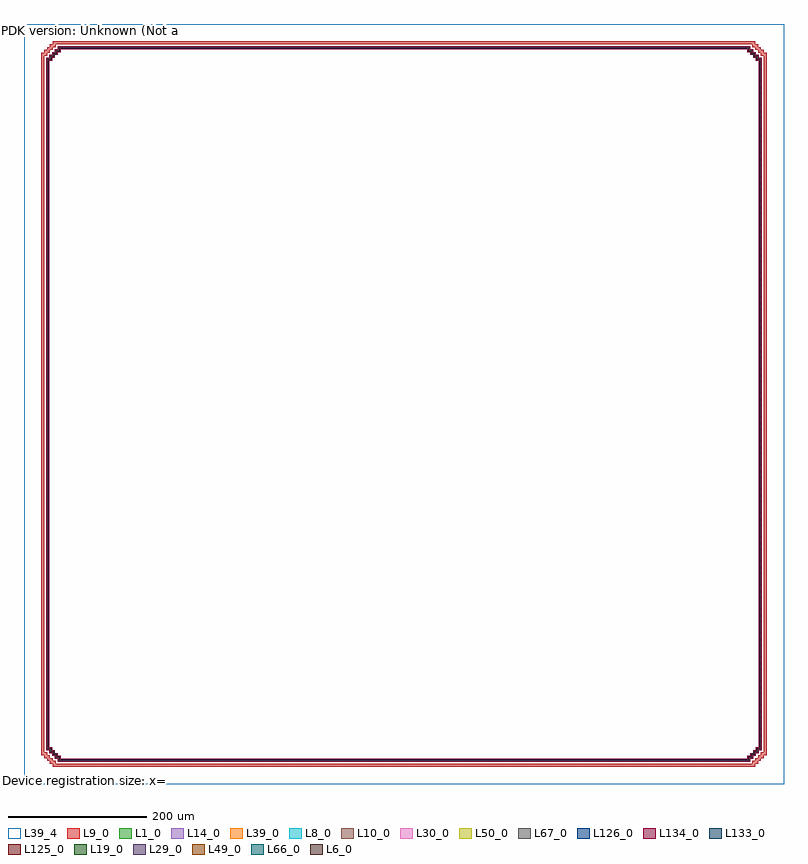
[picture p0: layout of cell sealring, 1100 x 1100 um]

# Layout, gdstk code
import gdstk
lib = gdstk.Library(unit=1e-6, precision=1e-09)
def R(c, l, rs):  # rectangles x0, y0, x1, y1
    for r in rs: c.add(gdstk.rectangle(r[:2], r[2:], *l))
def P(c, l, *ps):  # polygons
    for p in ps: c.add(gdstk.Polygon(p, *l))
L1_0 = (1, 0)
L6_0 = (6, 0)
L8_0 = (8, 0)
L9_0 = (9, 0)
L10_0 = (10, 0)
L14_0 = (14, 0)
L19_0 = (19, 0)
L29_0 = (29, 0)
L30_0 = (30, 0)
L39_0 = (39, 0)
L39_4 = (39, 4)
L49_0 = (49, 0)
L50_0 = (50, 0)
L66_0 = (66, 0)
L67_0 = (67, 0)
L125_0 = (125, 0)
L126_0 = (126, 0)
L133_0 = (133, 0)
L134_0 = (134, 0)

sealring = lib.new_cell('sealring')
R(sealring, L1_0, [(49,32.2,53.2,40.6), (53.2,32.2,1046.8,36.4), (1046.8,32.2,1051,36.4), (44.8,36.4,49,44.8), (1046.8,36.4,1055.2,40.6), (40.6,40.6,44.8,49), (1051,40.6,1059.4,44.8), (36.4,44.8,40.6,53.2), (1055.2,44.8,1063.6,49), (32.2,49,36.4,53.2), (1059.4,49,1067.8,53.2), (32.2,53.2,36.4,1046.8), (1063.6,53.2,1067.8,1046.8), (32.2,1046.8,40.6,1051), (1059.4,1046.8,1063.6,1055.2), (1063.6,1046.8,1067.8,1051), (36.4,1051,44.8,1055.2), (1055.2,1051,1059.4,1059.4), (40.6,1055.2,49,1059.4), (1051,1055.2,1055.2,1063.6), (44.8,1059.4,53.2,1063.6), (1046.8,1059.4,1051,1067.8), (49,1063.6,53.2,1067.8), (53.2,1063.6,1046.8,1067.8)])
R(sealring, L6_0, [(53.2,34.2,1046.8,34.36), (34.2,53.2,34.36,1046.8), (1065.64,53.2,1065.8,1046.8), (53.2,1065.64,1046.8,1065.8)])
P(sealring, L6_0, [(1065.64,1046.8),(1065.64,1048.84),(1061.44,1048.84),(1061.44,1053.04),(1057.24,1053.04),(1057.24,1057.24),(1053.04,1057.24),(1053.04,1061.44),(1048.84,1061.44),(1048.84,1065.64),(1046.8,1065.64),(1046.8,1065.8),(1049,1065.8),(1049,1061.6),(1053.2,1061.6),(1053.2,1057.4),(1057.4,1057.4),(1057.4,1053.2),(1061.6,1053.2),(1061.6,1049),(1065.8,1049),(1065.8,1046.8)],
  [(51,34.2),(51,38.4),(46.8,38.4),(46.8,42.6),(42.6,42.6),(42.6,46.8),(38.4,46.8),(38.4,51),(34.2,51),(34.2,53.2),(34.36,53.2),(34.36,51.16),(38.56,51.16),(38.56,46.96),(42.76,46.96),(42.76,42.76),(46.96,42.76),(46.96,38.56),(51.16,38.56),(51.16,34.36),(53.2,34.36),(53.2,34.2)],
  [(1046.8,34.2),(1046.8,34.36),(1048.84,34.36),(1048.84,38.56),(1053.04,38.56),(1053.04,42.76),(1057.24,42.76),(1057.24,46.96),(1061.44,46.96),(1061.44,51.16),(1065.64,51.16),(1065.64,53.2),(1065.8,53.2),(1065.8,51),(1061.6,51),(1061.6,46.8),(1057.4,46.8),(1057.4,42.6),(1053.2,42.6),(1053.2,38.4),(1049,38.4),(1049,34.2)],
  [(34.2,1046.8),(34.2,1049),(38.4,1049),(38.4,1053.2),(42.6,1053.2),(42.6,1057.4),(46.8,1057.4),(46.8,1061.6),(51,1061.6),(51,1065.8),(53.2,1065.8),(53.2,1065.64),(51.16,1065.64),(51.16,1061.44),(46.96,1061.44),(46.96,1057.24),(42.76,1057.24),(42.76,1053.04),(38.56,1053.04),(38.56,1048.84),(34.36,1048.84),(34.36,1046.8)])
R(sealring, L8_0, [(49,32.2,53.2,40.6), (53.2,32.2,1046.8,36.4), (1046.8,32.2,1051,36.4), (44.8,36.4,49,44.8), (1046.8,36.4,1055.2,40.6), (40.6,40.6,44.8,49), (1051,40.6,1059.4,44.8), (36.4,44.8,40.6,53.2), (1055.2,44.8,1063.6,49), (32.2,49,36.4,53.2), (1059.4,49,1067.8,53.2), (32.2,53.2,36.4,1046.8), (1063.6,53.2,1067.8,1046.8), (32.2,1046.8,40.6,1051), (1059.4,1046.8,1063.6,1055.2), (1063.6,1046.8,1067.8,1051), (36.4,1051,44.8,1055.2), (1055.2,1051,1059.4,1059.4), (40.6,1055.2,49,1059.4), (1051,1055.2,1055.2,1063.6), (44.8,1059.4,53.2,1063.6), (1046.8,1059.4,1051,1067.8), (49,1063.6,53.2,1067.8), (53.2,1063.6,1046.8,1067.8)])
R(sealring, L9_0, [(53.2,25,1046.8,29.2), (25,53.2,29.2,1046.8), (1070.8,53.2,1075,1046.8), (53.2,1070.8,1046.8,1075)])
P(sealring, L9_0, [(41.8,25),(41.8,29.2),(37.6,29.2),(37.6,33.4),(33.4,33.4),(33.4,37.6),(29.2,37.6),(29.2,41.8),(25,41.8),(25,53.2),(29.2,53.2),(29.2,46),(33.4,46),(33.4,41.8),(37.6,41.8),(37.6,37.6),(41.8,37.6),(41.8,33.4),(46,33.4),(46,29.2),(78.2,29.2),(78.2,25)],
  [(1070.8,1046.8),(1070.8,1054),(1066.6,1054),(1066.6,1058.2),(1062.4,1058.2),(1062.4,1062.4),(1058.2,1062.4),(1058.2,1066.6),(1054,1066.6),(1054,1070.8),(1021.8,1070.8),(1021.8,1075),(1058.2,1075),(1058.2,1070.8),(1062.4,1070.8),(1062.4,1066.6),(1066.6,1066.6),(1066.6,1062.4),(1070.8,1062.4),(1070.8,1058.2),(1075,1058.2),(1075,1046.8)],
  [(1046.8,25),(1046.8,29.2),(1054,29.2),(1054,33.4),(1058.2,33.4),(1058.2,37.6),(1062.4,37.6),(1062.4,41.8),(1066.6,41.8),(1066.6,46),(1070.8,46),(1070.8,78.2),(1075,78.2),(1075,41.8),(1070.8,41.8),(1070.8,37.6),(1066.6,37.6),(1066.6,33.4),(1062.4,33.4),(1062.4,29.2),(1058.2,29.2),(1058.2,25)],
  [(25,1021.8),(25,1058.2),(29.2,1058.2),(29.2,1062.4),(33.4,1062.4),(33.4,1066.6),(37.6,1066.6),(37.6,1070.8),(41.8,1070.8),(41.8,1075),(53.2,1075),(53.2,1070.8),(46,1070.8),(46,1066.6),(41.8,1066.6),(41.8,1062.4),(37.6,1062.4),(37.6,1058.2),(33.4,1058.2),(33.4,1054),(29.2,1054),(29.2,1021.8)])
R(sealring, L10_0, [(49,32.2,53.2,40.6), (53.2,32.2,1046.8,36.4), (1046.8,32.2,1051,36.4), (44.8,36.4,49,44.8), (1046.8,36.4,1055.2,40.6), (40.6,40.6,44.8,49), (1051,40.6,1059.4,44.8), (36.4,44.8,40.6,53.2), (1055.2,44.8,1063.6,49), (32.2,49,36.4,53.2), (1059.4,49,1067.8,53.2), (32.2,53.2,36.4,1046.8), (1063.6,53.2,1067.8,1046.8), (32.2,1046.8,40.6,1051), (1059.4,1046.8,1063.6,1055.2), (1063.6,1046.8,1067.8,1051), (36.4,1051,44.8,1055.2), (1055.2,1051,1059.4,1059.4), (40.6,1055.2,49,1059.4), (1051,1055.2,1055.2,1063.6), (44.8,1059.4,53.2,1063.6), (1046.8,1059.4,1051,1067.8), (49,1063.6,53.2,1067.8), (53.2,1063.6,1046.8,1067.8)])
R(sealring, L14_0, [(49,32.2,53.2,40.6), (53.2,32.2,1046.8,36.4), (1046.8,32.2,1051,36.4), (44.8,36.4,49,44.8), (1046.8,36.4,1055.2,40.6), (40.6,40.6,44.8,49), (1051,40.6,1059.4,44.8), (36.4,44.8,40.6,53.2), (1055.2,44.8,1063.6,49), (32.2,49,36.4,53.2), (1059.4,49,1067.8,53.2), (32.2,53.2,36.4,1046.8), (1063.6,53.2,1067.8,1046.8), (32.2,1046.8,40.6,1051), (1059.4,1046.8,1063.6,1055.2), (1063.6,1046.8,1067.8,1051), (36.4,1051,44.8,1055.2), (1055.2,1051,1059.4,1059.4), (40.6,1055.2,49,1059.4), (1051,1055.2,1055.2,1063.6), (44.8,1059.4,53.2,1063.6), (1046.8,1059.4,1051,1067.8), (49,1063.6,53.2,1067.8), (53.2,1063.6,1046.8,1067.8)])
R(sealring, L19_0, [(53.2,34.2,1046.8,34.39), (34.2,53.2,34.39,1046.8), (1065.61,53.2,1065.8,1046.8), (53.2,1065.61,1046.8,1065.8)])
P(sealring, L19_0, [(1065.61,1046.8),(1065.61,1048.81),(1061.41,1048.81),(1061.41,1053.01),(1057.21,1053.01),(1057.21,1057.21),(1053.01,1057.21),(1053.01,1061.41),(1048.81,1061.41),(1048.81,1065.61),(1046.8,1065.61),(1046.8,1065.8),(1049,1065.8),(1049,1061.6),(1053.2,1061.6),(1053.2,1057.4),(1057.4,1057.4),(1057.4,1053.2),(1061.6,1053.2),(1061.6,1049),(1065.8,1049),(1065.8,1046.8)],
  [(51,34.2),(51,38.4),(46.8,38.4),(46.8,42.6),(42.6,42.6),(42.6,46.8),(38.4,46.8),(38.4,51),(34.2,51),(34.2,53.2),(34.39,53.2),(34.39,51.19),(38.59,51.19),(38.59,46.99),(42.79,46.99),(42.79,42.79),(46.99,42.79),(46.99,38.59),(51.19,38.59),(51.19,34.39),(53.2,34.39),(53.2,34.2)],
  [(1046.8,34.2),(1046.8,34.39),(1048.81,34.39),(1048.81,38.59),(1053.01,38.59),(1053.01,42.79),(1057.21,42.79),(1057.21,46.99),(1061.41,46.99),(1061.41,51.19),(1065.61,51.19),(1065.61,53.2),(1065.8,53.2),(1065.8,51),(1061.6,51),(1061.6,46.8),(1057.4,46.8),(1057.4,42.6),(1053.2,42.6),(1053.2,38.4),(1049,38.4),(1049,34.2)],
  [(34.2,1046.8),(34.2,1049),(38.4,1049),(38.4,1053.2),(42.6,1053.2),(42.6,1057.4),(46.8,1057.4),(46.8,1061.6),(51,1061.6),(51,1065.8),(53.2,1065.8),(53.2,1065.61),(51.19,1065.61),(51.19,1061.41),(46.99,1061.41),(46.99,1057.21),(42.79,1057.21),(42.79,1053.01),(38.59,1053.01),(38.59,1048.81),(34.39,1048.81),(34.39,1046.8)])
R(sealring, L29_0, [(53.2,34.2,1046.8,34.39), (34.2,53.2,34.39,1046.8), (1065.61,53.2,1065.8,1046.8), (53.2,1065.61,1046.8,1065.8)])
P(sealring, L29_0, [(1065.61,1046.8),(1065.61,1048.81),(1061.41,1048.81),(1061.41,1053.01),(1057.21,1053.01),(1057.21,1057.21),(1053.01,1057.21),(1053.01,1061.41),(1048.81,1061.41),(1048.81,1065.61),(1046.8,1065.61),(1046.8,1065.8),(1049,1065.8),(1049,1061.6),(1053.2,1061.6),(1053.2,1057.4),(1057.4,1057.4),(1057.4,1053.2),(1061.6,1053.2),(1061.6,1049),(1065.8,1049),(1065.8,1046.8)],
  [(51,34.2),(51,38.4),(46.8,38.4),(46.8,42.6),(42.6,42.6),(42.6,46.8),(38.4,46.8),(38.4,51),(34.2,51),(34.2,53.2),(34.39,53.2),(34.39,51.19),(38.59,51.19),(38.59,46.99),(42.79,46.99),(42.79,42.79),(46.99,42.79),(46.99,38.59),(51.19,38.59),(51.19,34.39),(53.2,34.39),(53.2,34.2)],
  [(1046.8,34.2),(1046.8,34.39),(1048.81,34.39),(1048.81,38.59),(1053.01,38.59),(1053.01,42.79),(1057.21,42.79),(1057.21,46.99),(1061.41,46.99),(1061.41,51.19),(1065.61,51.19),(1065.61,53.2),(1065.8,53.2),(1065.8,51),(1061.6,51),(1061.6,46.8),(1057.4,46.8),(1057.4,42.6),(1053.2,42.6),(1053.2,38.4),(1049,38.4),(1049,34.2)],
  [(34.2,1046.8),(34.2,1049),(38.4,1049),(38.4,1053.2),(42.6,1053.2),(42.6,1057.4),(46.8,1057.4),(46.8,1061.6),(51,1061.6),(51,1065.8),(53.2,1065.8),(53.2,1065.61),(51.19,1065.61),(51.19,1061.41),(46.99,1061.41),(46.99,1057.21),(42.79,1057.21),(42.79,1053.01),(38.59,1053.01),(38.59,1048.81),(34.39,1048.81),(34.39,1046.8)])
R(sealring, L30_0, [(49,32.2,53.2,40.6), (53.2,32.2,1046.8,36.4), (1046.8,32.2,1051,36.4), (44.8,36.4,49,44.8), (1046.8,36.4,1055.2,40.6), (40.6,40.6,44.8,49), (1051,40.6,1059.4,44.8), (36.4,44.8,40.6,53.2), (1055.2,44.8,1063.6,49), (32.2,49,36.4,53.2), (1059.4,49,1067.8,53.2), (32.2,53.2,36.4,1046.8), (1063.6,53.2,1067.8,1046.8), (32.2,1046.8,40.6,1051), (1059.4,1046.8,1063.6,1055.2), (1063.6,1046.8,1067.8,1051), (36.4,1051,44.8,1055.2), (1055.2,1051,1059.4,1059.4), (40.6,1055.2,49,1059.4), (1051,1055.2,1055.2,1063.6), (44.8,1059.4,53.2,1063.6), (1046.8,1059.4,1051,1067.8), (49,1063.6,53.2,1067.8), (53.2,1063.6,1046.8,1067.8)])
R(sealring, L39_0, [(49,32.2,53.2,40.6), (53.2,32.2,1046.8,36.4), (1046.8,32.2,1051,36.4), (44.8,36.4,49,44.8), (1046.8,36.4,1055.2,40.6), (40.6,40.6,44.8,49), (1051,40.6,1059.4,44.8), (36.4,44.8,40.6,53.2), (1055.2,44.8,1063.6,49), (32.2,49,36.4,53.2), (1059.4,49,1067.8,53.2), (32.2,53.2,36.4,1046.8), (1063.6,53.2,1067.8,1046.8), (32.2,1046.8,40.6,1051), (1059.4,1046.8,1063.6,1055.2), (1063.6,1046.8,1067.8,1051), (36.4,1051,44.8,1055.2), (1055.2,1051,1059.4,1059.4), (40.6,1055.2,49,1059.4), (1051,1055.2,1055.2,1063.6), (44.8,1059.4,53.2,1063.6), (1046.8,1059.4,1051,1067.8), (49,1063.6,53.2,1067.8), (53.2,1063.6,1046.8,1067.8)])
R(sealring, L39_4, [(0,0,1100,1100)])
R(sealring, L49_0, [(53.2,34.2,1046.8,34.39), (34.2,53.2,34.39,1046.8), (1065.61,53.2,1065.8,1046.8), (53.2,1065.61,1046.8,1065.8)])
P(sealring, L49_0, [(1065.61,1046.8),(1065.61,1048.81),(1061.41,1048.81),(1061.41,1053.01),(1057.21,1053.01),(1057.21,1057.21),(1053.01,1057.21),(1053.01,1061.41),(1048.81,1061.41),(1048.81,1065.61),(1046.8,1065.61),(1046.8,1065.8),(1049,1065.8),(1049,1061.6),(1053.2,1061.6),(1053.2,1057.4),(1057.4,1057.4),(1057.4,1053.2),(1061.6,1053.2),(1061.6,1049),(1065.8,1049),(1065.8,1046.8)],
  [(51,34.2),(51,38.4),(46.8,38.4),(46.8,42.6),(42.6,42.6),(42.6,46.8),(38.4,46.8),(38.4,51),(34.2,51),(34.2,53.2),(34.39,53.2),(34.39,51.19),(38.59,51.19),(38.59,46.99),(42.79,46.99),(42.79,42.79),(46.99,42.79),(46.99,38.59),(51.19,38.59),(51.19,34.39),(53.2,34.39),(53.2,34.2)],
  [(1046.8,34.2),(1046.8,34.39),(1048.81,34.39),(1048.81,38.59),(1053.01,38.59),(1053.01,42.79),(1057.21,42.79),(1057.21,46.99),(1061.41,46.99),(1061.41,51.19),(1065.61,51.19),(1065.61,53.2),(1065.8,53.2),(1065.8,51),(1061.6,51),(1061.6,46.8),(1057.4,46.8),(1057.4,42.6),(1053.2,42.6),(1053.2,38.4),(1049,38.4),(1049,34.2)],
  [(34.2,1046.8),(34.2,1049),(38.4,1049),(38.4,1053.2),(42.6,1053.2),(42.6,1057.4),(46.8,1057.4),(46.8,1061.6),(51,1061.6),(51,1065.8),(53.2,1065.8),(53.2,1065.61),(51.19,1065.61),(51.19,1061.41),(46.99,1061.41),(46.99,1057.21),(42.79,1057.21),(42.79,1053.01),(38.59,1053.01),(38.59,1048.81),(34.39,1048.81),(34.39,1046.8)])
R(sealring, L50_0, [(49,32.2,53.2,40.6), (53.2,32.2,1046.8,36.4), (1046.8,32.2,1051,36.4), (44.8,36.4,49,44.8), (1046.8,36.4,1055.2,40.6), (40.6,40.6,44.8,49), (1051,40.6,1059.4,44.8), (36.4,44.8,40.6,53.2), (1055.2,44.8,1063.6,49), (32.2,49,36.4,53.2), (1059.4,49,1067.8,53.2), (32.2,53.2,36.4,1046.8), (1063.6,53.2,1067.8,1046.8), (32.2,1046.8,40.6,1051), (1059.4,1046.8,1063.6,1055.2), (1063.6,1046.8,1067.8,1051), (36.4,1051,44.8,1055.2), (1055.2,1051,1059.4,1059.4), (40.6,1055.2,49,1059.4), (1051,1055.2,1055.2,1063.6), (44.8,1059.4,53.2,1063.6), (1046.8,1059.4,1051,1067.8), (49,1063.6,53.2,1067.8), (53.2,1063.6,1046.8,1067.8)])
R(sealring, L66_0, [(53.2,34.2,1046.8,34.39), (34.2,53.2,34.39,1046.8), (1065.61,53.2,1065.8,1046.8), (53.2,1065.61,1046.8,1065.8)])
P(sealring, L66_0, [(1065.61,1046.8),(1065.61,1048.81),(1061.41,1048.81),(1061.41,1053.01),(1057.21,1053.01),(1057.21,1057.21),(1053.01,1057.21),(1053.01,1061.41),(1048.81,1061.41),(1048.81,1065.61),(1046.8,1065.61),(1046.8,1065.8),(1049,1065.8),(1049,1061.6),(1053.2,1061.6),(1053.2,1057.4),(1057.4,1057.4),(1057.4,1053.2),(1061.6,1053.2),(1061.6,1049),(1065.8,1049),(1065.8,1046.8)],
  [(51,34.2),(51,38.4),(46.8,38.4),(46.8,42.6),(42.6,42.6),(42.6,46.8),(38.4,46.8),(38.4,51),(34.2,51),(34.2,53.2),(34.39,53.2),(34.39,51.19),(38.59,51.19),(38.59,46.99),(42.79,46.99),(42.79,42.79),(46.99,42.79),(46.99,38.59),(51.19,38.59),(51.19,34.39),(53.2,34.39),(53.2,34.2)],
  [(1046.8,34.2),(1046.8,34.39),(1048.81,34.39),(1048.81,38.59),(1053.01,38.59),(1053.01,42.79),(1057.21,42.79),(1057.21,46.99),(1061.41,46.99),(1061.41,51.19),(1065.61,51.19),(1065.61,53.2),(1065.8,53.2),(1065.8,51),(1061.6,51),(1061.6,46.8),(1057.4,46.8),(1057.4,42.6),(1053.2,42.6),(1053.2,38.4),(1049,38.4),(1049,34.2)],
  [(34.2,1046.8),(34.2,1049),(38.4,1049),(38.4,1053.2),(42.6,1053.2),(42.6,1057.4),(46.8,1057.4),(46.8,1061.6),(51,1061.6),(51,1065.8),(53.2,1065.8),(53.2,1065.61),(51.19,1065.61),(51.19,1061.41),(46.99,1061.41),(46.99,1057.21),(42.79,1057.21),(42.79,1053.01),(38.59,1053.01),(38.59,1048.81),(34.39,1048.81),(34.39,1046.8)])
R(sealring, L67_0, [(49,32.2,53.2,40.6), (53.2,32.2,1046.8,36.4), (1046.8,32.2,1051,36.4), (44.8,36.4,49,44.8), (1046.8,36.4,1055.2,40.6), (40.6,40.6,44.8,49), (1051,40.6,1059.4,44.8), (36.4,44.8,40.6,53.2), (1055.2,44.8,1063.6,49), (32.2,49,36.4,53.2), (1059.4,49,1067.8,53.2), (32.2,53.2,36.4,1046.8), (1063.6,53.2,1067.8,1046.8), (32.2,1046.8,40.6,1051), (1059.4,1046.8,1063.6,1055.2), (1063.6,1046.8,1067.8,1051), (36.4,1051,44.8,1055.2), (1055.2,1051,1059.4,1059.4), (40.6,1055.2,49,1059.4), (1051,1055.2,1055.2,1063.6), (44.8,1059.4,53.2,1063.6), (1046.8,1059.4,1051,1067.8), (49,1063.6,53.2,1067.8), (53.2,1063.6,1046.8,1067.8)])
R(sealring, L125_0, [(53.2,34.2,1046.8,34.62), (34.2,53.2,34.62,1046.8), (1065.38,53.2,1065.8,1046.8), (53.2,1065.38,1046.8,1065.8)])
P(sealring, L125_0, [(1065.38,1046.8),(1065.38,1048.58),(1061.18,1048.58),(1061.18,1052.78),(1056.98,1052.78),(1056.98,1056.98),(1052.78,1056.98),(1052.78,1061.18),(1048.58,1061.18),(1048.58,1065.38),(1046.8,1065.38),(1046.8,1065.8),(1049,1065.8),(1049,1061.6),(1053.2,1061.6),(1053.2,1057.4),(1057.4,1057.4),(1057.4,1053.2),(1061.6,1053.2),(1061.6,1049),(1065.8,1049),(1065.8,1046.8)],
  [(51,34.2),(51,38.4),(46.8,38.4),(46.8,42.6),(42.6,42.6),(42.6,46.8),(38.4,46.8),(38.4,51),(34.2,51),(34.2,53.2),(34.62,53.2),(34.62,51.42),(38.82,51.42),(38.82,47.22),(43.02,47.22),(43.02,43.02),(47.22,43.02),(47.22,38.82),(51.42,38.82),(51.42,34.62),(53.2,34.62),(53.2,34.2)],
  [(1046.8,34.2),(1046.8,34.62),(1048.58,34.62),(1048.58,38.82),(1052.78,38.82),(1052.78,43.02),(1056.98,43.02),(1056.98,47.22),(1061.18,47.22),(1061.18,51.42),(1065.38,51.42),(1065.38,53.2),(1065.8,53.2),(1065.8,51),(1061.6,51),(1061.6,46.8),(1057.4,46.8),(1057.4,42.6),(1053.2,42.6),(1053.2,38.4),(1049,38.4),(1049,34.2)],
  [(34.2,1046.8),(34.2,1049),(38.4,1049),(38.4,1053.2),(42.6,1053.2),(42.6,1057.4),(46.8,1057.4),(46.8,1061.6),(51,1061.6),(51,1065.8),(53.2,1065.8),(53.2,1065.38),(51.42,1065.38),(51.42,1061.18),(47.22,1061.18),(47.22,1056.98),(43.02,1056.98),(43.02,1052.78),(38.82,1052.78),(38.82,1048.58),(34.62,1048.58),(34.62,1046.8)])
R(sealring, L126_0, [(49,32.2,53.2,40.6), (53.2,32.2,1046.8,36.4), (1046.8,32.2,1051,36.4), (44.8,36.4,49,44.8), (1046.8,36.4,1055.2,40.6), (40.6,40.6,44.8,49), (1051,40.6,1059.4,44.8), (36.4,44.8,40.6,53.2), (1055.2,44.8,1063.6,49), (32.2,49,36.4,53.2), (1059.4,49,1067.8,53.2), (32.2,53.2,36.4,1046.8), (1063.6,53.2,1067.8,1046.8), (32.2,1046.8,40.6,1051), (1059.4,1046.8,1063.6,1055.2), (1063.6,1046.8,1067.8,1051), (36.4,1051,44.8,1055.2), (1055.2,1051,1059.4,1059.4), (40.6,1055.2,49,1059.4), (1051,1055.2,1055.2,1063.6), (44.8,1059.4,53.2,1063.6), (1046.8,1059.4,1051,1067.8), (49,1063.6,53.2,1067.8), (53.2,1063.6,1046.8,1067.8)])
R(sealring, L133_0, [(53.2,34.2,1046.8,35.1), (34.2,53.2,35.1,1046.8), (1064.9,53.2,1065.8,1046.8), (53.2,1064.9,1046.8,1065.8)])
P(sealring, L133_0, [(1064.9,1046.8),(1064.9,1048.1),(1060.7,1048.1),(1060.7,1052.3),(1056.5,1052.3),(1056.5,1056.5),(1052.3,1056.5),(1052.3,1060.7),(1048.1,1060.7),(1048.1,1064.9),(1046.8,1064.9),(1046.8,1065.8),(1049,1065.8),(1049,1061.6),(1053.2,1061.6),(1053.2,1057.4),(1057.4,1057.4),(1057.4,1053.2),(1061.6,1053.2),(1061.6,1049),(1065.8,1049),(1065.8,1046.8)],
  [(51,34.2),(51,38.4),(46.8,38.4),(46.8,42.6),(42.6,42.6),(42.6,46.8),(38.4,46.8),(38.4,51),(34.2,51),(34.2,53.2),(35.1,53.2),(35.1,51.9),(39.3,51.9),(39.3,47.7),(43.5,47.7),(43.5,43.5),(47.7,43.5),(47.7,39.3),(51.9,39.3),(51.9,35.1),(53.2,35.1),(53.2,34.2)],
  [(1046.8,34.2),(1046.8,35.1),(1048.1,35.1),(1048.1,39.3),(1052.3,39.3),(1052.3,43.5),(1056.5,43.5),(1056.5,47.7),(1060.7,47.7),(1060.7,51.9),(1064.9,51.9),(1064.9,53.2),(1065.8,53.2),(1065.8,51),(1061.6,51),(1061.6,46.8),(1057.4,46.8),(1057.4,42.6),(1053.2,42.6),(1053.2,38.4),(1049,38.4),(1049,34.2)],
  [(34.2,1046.8),(34.2,1049),(38.4,1049),(38.4,1053.2),(42.6,1053.2),(42.6,1057.4),(46.8,1057.4),(46.8,1061.6),(51,1061.6),(51,1065.8),(53.2,1065.8),(53.2,1064.9),(51.9,1064.9),(51.9,1060.7),(47.7,1060.7),(47.7,1056.5),(43.5,1056.5),(43.5,1052.3),(39.3,1052.3),(39.3,1048.1),(35.1,1048.1),(35.1,1046.8)])
R(sealring, L134_0, [(49,32.2,53.2,40.6), (53.2,32.2,1046.8,36.4), (1046.8,32.2,1051,36.4), (44.8,36.4,49,44.8), (1046.8,36.4,1055.2,40.6), (40.6,40.6,44.8,49), (1051,40.6,1059.4,44.8), (36.4,44.8,40.6,53.2), (1055.2,44.8,1063.6,49), (32.2,49,36.4,53.2), (1059.4,49,1067.8,53.2), (32.2,53.2,36.4,1046.8), (1063.6,53.2,1067.8,1046.8), (32.2,1046.8,40.6,1051), (1059.4,1046.8,1063.6,1055.2), (1063.6,1046.8,1067.8,1051), (36.4,1051,44.8,1055.2), (1055.2,1051,1059.4,1059.4), (40.6,1055.2,49,1059.4), (1051,1055.2,1055.2,1063.6), (44.8,1059.4,53.2,1063.6), (1046.8,1059.4,1051,1067.8), (49,1063.6,53.2,1067.8), (53.2,1063.6,1046.8,1067.8)])
sealring.add(gdstk.Label('Device registration size: x=1100.0 um ; y=1100.0 um\nCalculated area: 1.2e-06 sq mm', (5,5), layer=63, texttype=0))
sealring.add(gdstk.Label('PDK version: Unknown (Not a Git repo or Git not installed)', (5,1090), layer=63, texttype=0))

lib.write_gds('sealring.gds')
